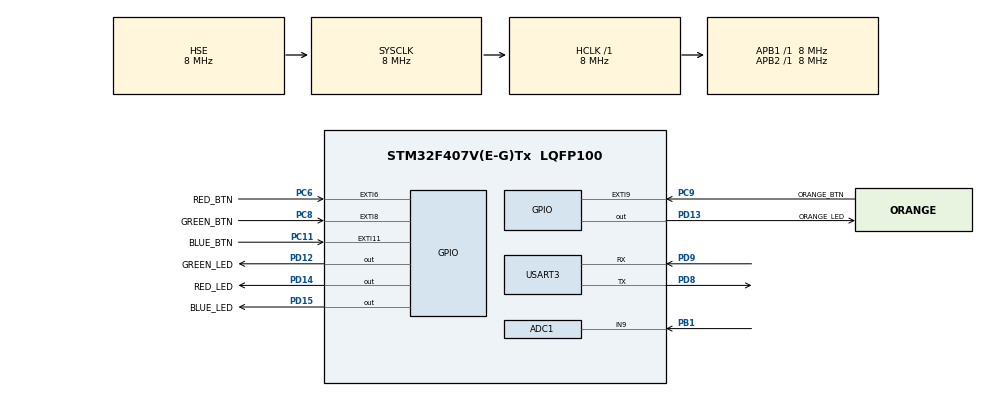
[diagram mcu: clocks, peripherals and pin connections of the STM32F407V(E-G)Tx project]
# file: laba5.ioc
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ADC1.Channel-1\#ChannelRegularConversion=ADC_CHANNEL_9
ADC1.ContinuousConvMode=DISABLE
ADC1.DMAContinuousRequests=ENABLE
ADC1.ExternalTrigConv=ADC_SOFTWARE_START
ADC1.NbrOfConversion=1
ADC1.NbrOfConversionFlag=1
ADC1.Rank-1\#ChannelRegularConversion=1
ADC1.SamplingTime-1\#ChannelRegularConversion=ADC_SAMPLETIME_144CYCLES
ADC1.master=1
Dma.ADC1.0.Direction=DMA_PERIPH_TO_MEMORY
Dma.ADC1.0.FIFOMode=DMA_FIFOMODE_DISABLE
Dma.ADC1.0.Instance=DMA2_Stream0
Dma.ADC1.0.MemDataAlignment=DMA_MDATAALIGN_HALFWORD
Dma.ADC1.0.MemInc=DMA_MINC_ENABLE
Dma.ADC1.0.Mode=DMA_NORMAL
Dma.ADC1.0.PeriphDataAlignment=DMA_PDATAALIGN_HALFWORD
Dma.ADC1.0.PeriphInc=DMA_PINC_DISABLE
Dma.ADC1.0.Priority=DMA_PRIORITY_LOW
Dma.Request0=ADC1
Mcu.Family=STM32F4
Mcu.Name=STM32F407V(E-G)Tx
Mcu.Package=LQFP100
NVIC.DMA2_Stream0_IRQn=true\:0\:0\:false\:false\:true\:false\:true
NVIC.EXTI15_10_IRQn=true\:0\:0\:false\:false\:true\:true\:true
NVIC.EXTI9_5_IRQn=true\:0\:0\:false\:false\:true\:true\:true
NVIC.PriorityGroup=NVIC_PRIORITYGROUP_4
NVIC.TIM3_IRQn=true\:0\:0\:false\:false\:true\:true\:true
PA13.Mode=Serial_Wire
PA13.Signal=SYS_JTMS-SWDIO
PA14.Mode=Serial_Wire
PA14.Signal=SYS_JTCK-SWCLK
PB1.Signal=ADCx_IN9
PC11.GPIO_Label=BLUE_BTN
PC11.GPIO_ModeDefaultEXTI=GPIO_MODE_IT_FALLING
PC11.Signal=GPXTI11
PC6.GPIO_Label=RED_BTN
PC6.GPIO_ModeDefaultEXTI=GPIO_MODE_IT_FALLING
PC6.Signal=GPXTI6
PC8.GPIO_Label=GREEN_BTN
PC8.GPIO_ModeDefaultEXTI=GPIO_MODE_IT_FALLING
PC8.Signal=GPXTI8
PC9.GPIO_Label=ORANGE_BTN
PC9.GPIO_ModeDefaultEXTI=GPIO_MODE_IT_FALLING
PC9.Signal=GPXTI9
PD12.GPIO_Label=GREEN_LED
PD12.Signal=GPIO_Output
PD13.GPIO_Label=ORANGE_LED
PD13.Signal=GPIO_Output
PD14.GPIO_Label=RED_LED
PD14.Signal=GPIO_Output
PD15.GPIO_Label=BLUE_LED
PD15.Signal=GPIO_Output
PD8.Mode=Asynchronous
PD8.Signal=USART3_TX
PD9.Mode=Asynchronous
PD9.Signal=USART3_RX
PH0-OSC_IN.Mode=HSE-External-Oscillator
PH0-OSC_IN.Signal=RCC_OSC_IN
PH1-OSC_OUT.Mode=HSE-External-Oscillator
PH1-OSC_OUT.Signal=RCC_OSC_OUT
ProjectManager.HeapSize=0x200
ProjectManager.StackSize=0x400
ProjectManager.TargetToolchain=STM32CubeIDE
RCC.48MHZClocksFreq_Value=24000000
RCC.AHBFreq_Value=8000000
RCC.APB1Freq_Value=8000000
RCC.APB1TimFreq_Value=8000000
RCC.APB2Freq_Value=8000000
RCC.APB2TimFreq_Value=8000000
RCC.CortexFreq_Value=8000000
RCC.HCLKFreq_Value=8000000
RCC.HSE_VALUE=8000000
RCC.HSI_VALUE=16000000
RCC.LSE_VALUE=32768
RCC.PLLSourceVirtual=RCC_PLLSOURCE_HSE
RCC.SYSCLKFreq_VALUE=8000000
RCC.SYSCLKSource=RCC_SYSCLKSOURCE_HSE
RCC.VCOOutputFreq_Value=96000000
SH.ADCx_IN9.0=ADC1_IN9,IN9
TIM3.Channel-Output\ Compare1\ No\ Output=TIM_CHANNEL_1
TIM3.Period=999
TIM3.Prescaler=39999
USART3.VirtualMode=VM_ASYNC
VP_TIM3_VS_no_output1.Mode=Output Compare1 No Output
board=custom

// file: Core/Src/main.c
/* USER CODE BEGIN Header */
/**
  ******************************************************************************
  * @file           : main.c
  * @brief          : Main program body
  ******************************************************************************
  * @attention
  *
  * <h2><center>&copy; Copyright (c) 2021 STMicroelectronics.
  * All rights reserved.</center></h2>
  *
  * This software component is licensed by ST under BSD 3-Clause license,
  * the "License"; You may not use this file except in compliance with the
  * License. You may obtain a copy of the License at:
  *                        opensource.org/licenses/BSD-3-Clause
  *
  ******************************************************************************
  */
/* USER CODE END Header */
#include "main.h"
#include <string.h>

/* USER CODE BEGIN PD */

#define LED_COUNT sizeof(leds)/sizeof(leds[0])
#define STEP_VOLT_TEMP 50	// 1volt -- 50 degrees
#define MAX_EXT_TEMPO 100
#define VREF 3	//reference voltage
#define MAX_ADC_VALUE 4095

/* USER CODE END PD */

ADC_HandleTypeDef hadc1;
DMA_HandleTypeDef hdma_adc1;

TIM_HandleTypeDef htim3;

UART_HandleTypeDef huart3;

/* USER CODE BEGIN PV */

uint16_t leds[] = {BLUE_LED_Pin, RED_LED_Pin, ORANGE_LED_Pin, GREEN_LED_Pin};
uint8_t button_led = 0;
uint16_t adc_value = 0;
_Bool flag = 0;

/* USER CODE END PV */

void SystemClock_Config(void);
static void MX_GPIO_Init(void);
static void MX_USART3_UART_Init(void);
static void MX_DMA_Init(void);
static void MX_ADC1_Init(void);
static void MX_TIM3_Init(void);

/* USER CODE BEGIN 0 */

void SetLedState(uint8_t led, _Bool state)
{
	uint8_t* message[4];
	sprintf((char*)message, "Led%d", led + 1);
	HAL_UART_Transmit(&huart3, &message, strlen((char*)message), 5);
	HAL_GPIO_WritePin(GPIOD, leds[led], state);
	if (state)
		HAL_UART_Transmit(&huart3, (uint8_t*)" is ON\r\n", 8, 100);
	else
		HAL_UART_Transmit(&huart3, (uint8_t*)" is OFF\r\n", 9, 100);
}

void UART_Led_Switch(void)
{
	uint8_t numLed;
	if (HAL_UART_Receive(&huart3, &numLed, 1, 100) != HAL_OK)
		return;
	numLed -= 49;	//Translate ASCII to number - 1
	if ((numLed >= 0) && (numLed < 4))
	{
		_Bool current_pin_state = HAL_GPIO_ReadPin(GPIOD, leds[numLed]);
		SetLedState(numLed, !current_pin_state);
	}
}

void Button_Led_Switch(void)
{
	if (button_led != 0)
	{
		_Bool current_pin_state = HAL_GPIO_ReadPin(GPIOD, leds[button_led - 1]);
		SetLedState(button_led - 1, !current_pin_state);
	}
	button_led = 0;
}

float ADC2Voltage(uint16_t adc_value)
{
	return (float)adc_value * VREF / MAX_ADC_VALUE;
}

void Send_Tempo(void)
{
	if (flag)
	{
		float temperature = MAX_EXT_TEMPO - (ADC2Voltage(adc_value) * (float)STEP_VOLT_TEMP);
		uint8_t message[20];
		sprintf((char*)message, "Temperature: %.2f\r\n", temperature);
		HAL_UART_Transmit(&huart3, &message, strlen((char*)message), 50);
		flag = 0;
	}
	else
		return;
}
/* USER CODE END 0 */

int main(void)
{

  /* MCU Configuration--------------------------------------------------------*/

  /* Reset of all peripherals, Initializes the Flash interface and the Systick. */
  HAL_Init();

  /* Configure the system clock */
  SystemClock_Config();

  /* Initialize all configured peripherals */
  MX_GPIO_Init();
  MX_USART3_UART_Init();
  MX_DMA_Init();
  MX_ADC1_Init();
  MX_TIM3_Init();
  HAL_TIM_Base_Start_IT(&htim3);

  /* Infinite loop */
  /* USER CODE BEGIN WHILE */
  while (1)
  {
	  UART_Led_Switch();
	  Button_Led_Switch();
	  Send_Tempo();
    /* USER CODE END WHILE */

  }
}

void SystemClock_Config(void)
{
  RCC_OscInitTypeDef RCC_OscInitStruct = {0};
  RCC_ClkInitTypeDef RCC_ClkInitStruct = {0};

  /** Configure the main internal regulator output voltage
  */
  __HAL_RCC_PWR_CLK_ENABLE();
  __HAL_PWR_VOLTAGESCALING_CONFIG(PWR_REGULATOR_VOLTAGE_SCALE1);
  /** Initializes the RCC Oscillators according to the specified parameters
  * in the RCC_OscInitTypeDef structure.
  */
  RCC_OscInitStruct.OscillatorType = RCC_OSCILLATORTYPE_HSE;
  RCC_OscInitStruct.HSEState = RCC_HSE_ON;
  RCC_OscInitStruct.PLL.PLLState = RCC_PLL_NONE;
  if (HAL_RCC_OscConfig(&RCC_OscInitStruct) != HAL_OK)
  {
    Error_Handler();
  }
  /** Initializes the CPU, AHB and APB buses clocks
  */
  RCC_ClkInitStruct.ClockType = RCC_CLOCKTYPE_HCLK|RCC_CLOCKTYPE_SYSCLK
                              |RCC_CLOCKTYPE_PCLK1|RCC_CLOCKTYPE_PCLK2;
  RCC_ClkInitStruct.SYSCLKSource = RCC_SYSCLKSOURCE_HSE;
  RCC_ClkInitStruct.AHBCLKDivider = RCC_SYSCLK_DIV1;
  RCC_ClkInitStruct.APB1CLKDivider = RCC_HCLK_DIV1;
  RCC_ClkInitStruct.APB2CLKDivider = RCC_HCLK_DIV1;

  if (HAL_RCC_ClockConfig(&RCC_ClkInitStruct, FLASH_LATENCY_0) != HAL_OK)
  {
    Error_Handler();
  }
}

static void MX_ADC1_Init(void)
{

  ADC_ChannelConfTypeDef sConfig = {0};

  /** Configure the global features of the ADC (Clock, Resolution, Data Alignment and number of conversion)
  */
  hadc1.Instance = ADC1;
  hadc1.Init.ClockPrescaler = ADC_CLOCK_SYNC_PCLK_DIV2;
  hadc1.Init.Resolution = ADC_RESOLUTION_12B;
  hadc1.Init.ScanConvMode = DISABLE;
  hadc1.Init.ContinuousConvMode = DISABLE;
  hadc1.Init.DiscontinuousConvMode = DISABLE;
  hadc1.Init.ExternalTrigConvEdge = ADC_EXTERNALTRIGCONVEDGE_NONE;
  hadc1.Init.ExternalTrigConv = ADC_SOFTWARE_START;
  hadc1.Init.DataAlign = ADC_DATAALIGN_RIGHT;
  hadc1.Init.NbrOfConversion = 1;
  hadc1.Init.DMAContinuousRequests = ENABLE;
  hadc1.Init.EOCSelection = ADC_EOC_SINGLE_CONV;
  if (HAL_ADC_Init(&hadc1) != HAL_OK)
  {
    Error_Handler();
  }
  /** Configure for the selected ADC regular channel its corresponding rank in the sequencer and its sample time.
  */
  sConfig.Channel = ADC_CHANNEL_9;
  sConfig.Rank = 1;
  sConfig.SamplingTime = ADC_SAMPLETIME_144CYCLES;
  if (HAL_ADC_ConfigChannel(&hadc1, &sConfig) != HAL_OK)
  {
    Error_Handler();
  }

}

static void MX_TIM3_Init(void)
{

  TIM_MasterConfigTypeDef sMasterConfig = {0};
  TIM_OC_InitTypeDef sConfigOC = {0};

  htim3.Instance = TIM3;
  htim3.Init.Prescaler = 39999;
  htim3.Init.CounterMode = TIM_COUNTERMODE_UP;
  htim3.Init.Period = 999;
  htim3.Init.ClockDivision = TIM_CLOCKDIVISION_DIV1;
  htim3.Init.AutoReloadPreload = TIM_AUTORELOAD_PRELOAD_DISABLE;
  if (HAL_TIM_OC_Init(&htim3) != HAL_OK)
  {
    Error_Handler();
  }
  sMasterConfig.MasterOutputTrigger = TIM_TRGO_RESET;
  sMasterConfig.MasterSlaveMode = TIM_MASTERSLAVEMODE_DISABLE;
  if (HAL_TIMEx_MasterConfigSynchronization(&htim3, &sMasterConfig) != HAL_OK)
  {
    Error_Handler();
  }
  sConfigOC.OCMode = TIM_OCMODE_TIMING;
  sConfigOC.Pulse = 0;
  sConfigOC.OCPolarity = TIM_OCPOLARITY_HIGH;
  sConfigOC.OCFastMode = TIM_OCFAST_DISABLE;
  if (HAL_TIM_OC_ConfigChannel(&htim3, &sConfigOC, TIM_CHANNEL_1) != HAL_OK)
  {
    Error_Handler();
  }

}

static void MX_USART3_UART_Init(void)
{

  huart3.Instance = USART3;
  huart3.Init.BaudRate = 115200;
  huart3.Init.WordLength = UART_WORDLENGTH_8B;
  huart3.Init.StopBits = UART_STOPBITS_1;
  huart3.Init.Parity = UART_PARITY_NONE;
  huart3.Init.Mode = UART_MODE_TX_RX;
  huart3.Init.HwFlowCtl = UART_HWCONTROL_NONE;
  huart3.Init.OverSampling = UART_OVERSAMPLING_16;
  if (HAL_UART_Init(&huart3) != HAL_OK)
  {
    Error_Handler();
  }

}

static void MX_DMA_Init(void)
{

  /* DMA controller clock enable */
  __HAL_RCC_DMA2_CLK_ENABLE();

  /* DMA interrupt init */
  /* DMA2_Stream0_IRQn interrupt configuration */
  HAL_NVIC_SetPriority(DMA2_Stream0_IRQn, 0, 0);
  HAL_NVIC_EnableIRQ(DMA2_Stream0_IRQn);

}

static void MX_GPIO_Init(void)
{
  GPIO_InitTypeDef GPIO_InitStruct = {0};

  /* GPIO Ports Clock Enable */
  __HAL_RCC_GPIOH_CLK_ENABLE();
  __HAL_RCC_GPIOB_CLK_ENABLE();
  __HAL_RCC_GPIOD_CLK_ENABLE();
  __HAL_RCC_GPIOC_CLK_ENABLE();
  __HAL_RCC_GPIOA_CLK_ENABLE();

  /*Configure GPIO pin Output Level */
  HAL_GPIO_WritePin(GPIOD, GREEN_LED_Pin|ORANGE_LED_Pin|RED_LED_Pin|BLUE_LED_Pin, GPIO_PIN_RESET);

  /*Configure GPIO pins : GREEN_LED_Pin ORANGE_LED_Pin RED_LED_Pin BLUE_LED_Pin */
  GPIO_InitStruct.Pin = GREEN_LED_Pin|ORANGE_LED_Pin|RED_LED_Pin|BLUE_LED_Pin;
  GPIO_InitStruct.Mode = GPIO_MODE_OUTPUT_PP;
  GPIO_InitStruct.Pull = GPIO_NOPULL;
  GPIO_InitStruct.Speed = GPIO_SPEED_FREQ_LOW;
  HAL_GPIO_Init(GPIOD, &GPIO_InitStruct);

  /*Configure GPIO pins : RED_BTN_Pin GREEN_BTN_Pin ORANGE_BTN_Pin BLUE_BTN_Pin */
  GPIO_InitStruct.Pin = RED_BTN_Pin|GREEN_BTN_Pin|ORANGE_BTN_Pin|BLUE_BTN_Pin;
  GPIO_InitStruct.Mode = GPIO_MODE_IT_FALLING;
  GPIO_InitStruct.Pull = GPIO_NOPULL;
  HAL_GPIO_Init(GPIOC, &GPIO_InitStruct);

  /* EXTI interrupt init*/
  HAL_NVIC_SetPriority(EXTI9_5_IRQn, 0, 0);
  HAL_NVIC_EnableIRQ(EXTI9_5_IRQn);

  HAL_NVIC_SetPriority(EXTI15_10_IRQn, 0, 0);
  HAL_NVIC_EnableIRQ(EXTI15_10_IRQn);

}

/* USER CODE BEGIN 4 */

void HAL_GPIO_EXTI_Callback(uint16_t Pin)
{
	switch (Pin)
	{
	case BLUE_BTN_Pin:
		button_led = 1;
		break;
	case RED_BTN_Pin:
		button_led = 2;
		break;
	case ORANGE_BTN_Pin:
		button_led = 3;
		break;
	case GREEN_BTN_Pin:
		button_led = 4;
		break;
	}
}

void HAL_TIM_PeriodElapsedCallback(TIM_HandleTypeDef* htim)
{
	HAL_ADC_Start_DMA(&hadc1, &adc_value, 1);
	flag = 1;
}

/* USER CODE END 4 */

void Error_Handler(void)
{
  __disable_irq();
  while (1)
  {
  }
}

/************************ (C) COPYRIGHT STMicroelectronics *****END OF FILE****/
